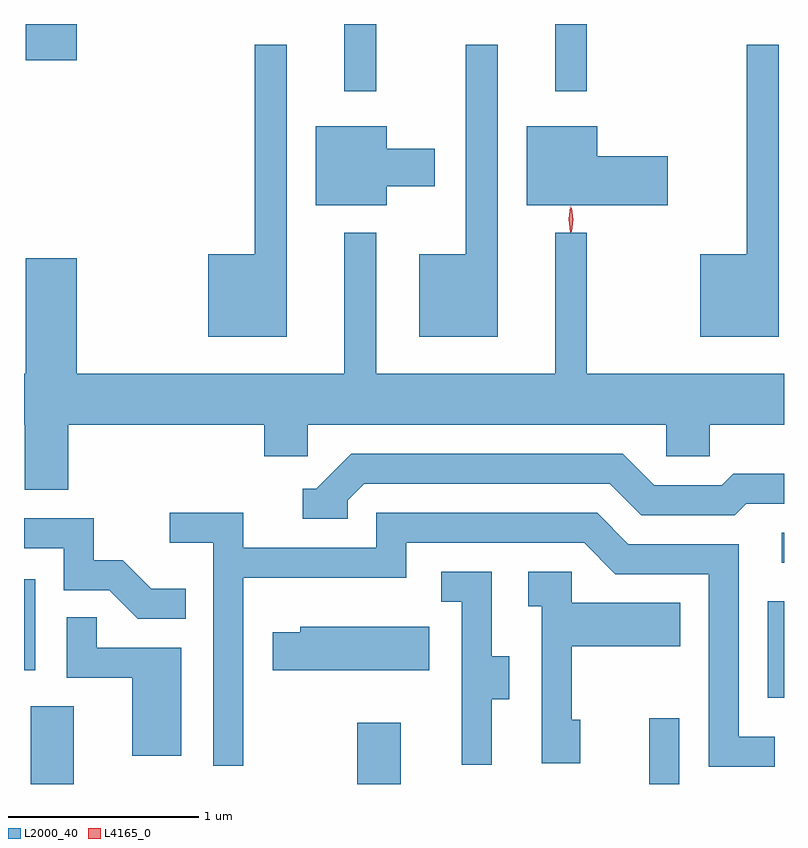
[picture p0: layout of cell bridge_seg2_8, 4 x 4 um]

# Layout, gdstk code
import gdstk
lib = gdstk.Library(unit=1e-6, precision=1e-09)
def R(c, l, rs):  # rectangles x0, y0, x1, y1
    for r in rs: c.add(gdstk.rectangle(r[:2], r[2:], *l))
def P(c, l, *ps):  # polygons
    for p in ps: c.add(gdstk.Polygon(p, *l))
L2000_40 = (2000, 40)
L4165_0 = (4165, 0)

bridge_seg2_8 = lib.new_cell('bridge_seg2_8')
R(bridge_seg2_8, L2000_40, [(1903.411,1015.346,1903.639,1015.754), (1905.131,1015.346,1905.359,1015.669), (1906.666,1015.346,1906.824,1015.693), (1907.291,1015.801,1907.376,1016.308), (1903.376,1015.946,1903.434,1016.424), (1907.363,1016.511,1907.376,1016.669), (1905.061,1018.993,1905.229,1019.346), (1906.171,1018.993,1906.339,1019.346), (1903.386,1019.156,1903.654,1019.346)])
P(bridge_seg2_8, L2000_40, [(1907.349,1019.238),(1907.181,1019.238),(1907.181,1018.134),(1906.936,1018.134),(1906.936,1017.701),(1907.349,1017.701)],
  [(1905.869,1019.238),(1905.701,1019.238),(1905.701,1018.134),(1905.456,1018.134),(1905.456,1017.701),(1905.869,1017.701)],
  [(1904.759,1019.238),(1904.591,1019.238),(1904.591,1018.134),(1904.346,1018.134),(1904.346,1017.701),(1904.759,1017.701)],
  [(1905.284,1018.491),(1905.539,1018.491),(1905.539,1018.689),(1905.284,1018.689),(1905.284,1018.809),(1904.911,1018.809),(1904.911,1018.391),(1905.284,1018.391)],
  [(1906.764,1018.649),(1906.394,1018.649),(1906.394,1018.809),(1906.021,1018.809),(1906.021,1018.391),(1906.764,1018.391)],
  [(1903.609,1017.236),(1904.641,1017.236),(1904.641,1017.071),(1904.869,1017.071),(1904.869,1017.236),(1906.756,1017.236),(1906.756,1017.071),(1906.984,1017.071),(1906.984,1017.236),(1907.376,1017.236),(1907.376,1017.504),(1906.339,1017.504),(1906.339,1018.248),(1906.171,1018.248),(1906.171,1017.504),(1905.229,1017.504),(1905.229,1018.248),(1905.061,1018.248),(1905.061,1017.504),(1903.654,1017.504),(1903.654,1018.114),(1903.386,1018.114),(1903.386,1017.504),(1903.376,1017.504),(1903.376,1017.236),(1903.381,1017.236),(1903.381,1016.896),(1903.609,1016.896)],
  [(1905.079,1016.839),(1905.167,1016.926),(1906.459,1016.926),(1906.624,1016.761),(1907.117,1016.761),(1907.177,1016.821),(1907.376,1016.821),(1907.376,1016.979),(1907.109,1016.979),(1907.049,1016.919),(1906.692,1016.919),(1906.527,1017.084),(1905.099,1017.084),(1904.914,1016.899),(1904.843,1016.899),(1904.843,1016.741),(1905.079,1016.741)],
  [(1907.328,1015.594),(1907.139,1015.594),(1907.139,1016.609),(1906.557,1016.609),(1906.392,1016.774),(1905.231,1016.774),(1905.231,1016.589),(1904.529,1016.589),(1904.529,1016.774),(1904.143,1016.774),(1904.143,1016.616),(1904.371,1016.616),(1904.371,1015.443),(1904.529,1015.443),(1904.529,1016.431),(1905.389,1016.431),(1905.389,1016.616),(1906.324,1016.616),(1906.489,1016.451),(1906.981,1016.451),(1906.981,1015.436),(1907.328,1015.436)],
  [(1904.228,1016.374),(1904.047,1016.374),(1903.897,1016.524),(1903.744,1016.524),(1903.744,1016.744),(1903.376,1016.744),(1903.376,1016.586),(1903.586,1016.586),(1903.586,1016.366),(1903.824,1016.366),(1903.974,1016.216),(1904.228,1016.216)],
  [(1905.839,1015.791),(1905.929,1015.791),(1905.929,1016.019),(1905.839,1016.019),(1905.839,1016.464),(1905.573,1016.464),(1905.573,1016.306),(1905.681,1016.306),(1905.681,1015.448),(1905.839,1015.448)],
  [(1906.304,1015.684),(1906.259,1015.684),(1906.259,1016.071),(1906.829,1016.071),(1906.829,1016.299),(1906.259,1016.299),(1906.259,1016.464),(1906.031,1016.464),(1906.031,1016.281),(1906.101,1016.281),(1906.101,1015.456),(1906.304,1015.456)],
  [(1904.204,1016.064),(1903.759,1016.064),(1903.759,1016.223),(1903.601,1016.223),(1903.601,1015.906),(1903.946,1015.906),(1903.946,1015.496),(1904.204,1015.496)],
  [(1905.509,1016.174),(1904.831,1016.174),(1904.831,1016.144),(1904.686,1016.144),(1904.686,1015.946),(1905.509,1015.946)])
P(bridge_seg2_8, L4165_0, [(1906.252,1018.25),(1906.242,1018.318),(1906.251,1018.385),(1906.252,1018.386),(1906.252,1018.385),(1906.262,1018.318),(1906.253,1018.25),(1906.253,1018.25)],
  [(1906.257,1018.253),(1906.248,1018.316),(1906.257,1018.38),(1906.258,1018.38),(1906.258,1018.38),(1906.268,1018.316),(1906.258,1018.253),(1906.258,1018.253)])

lib.write_gds('bridge_seg2_8.gds')
